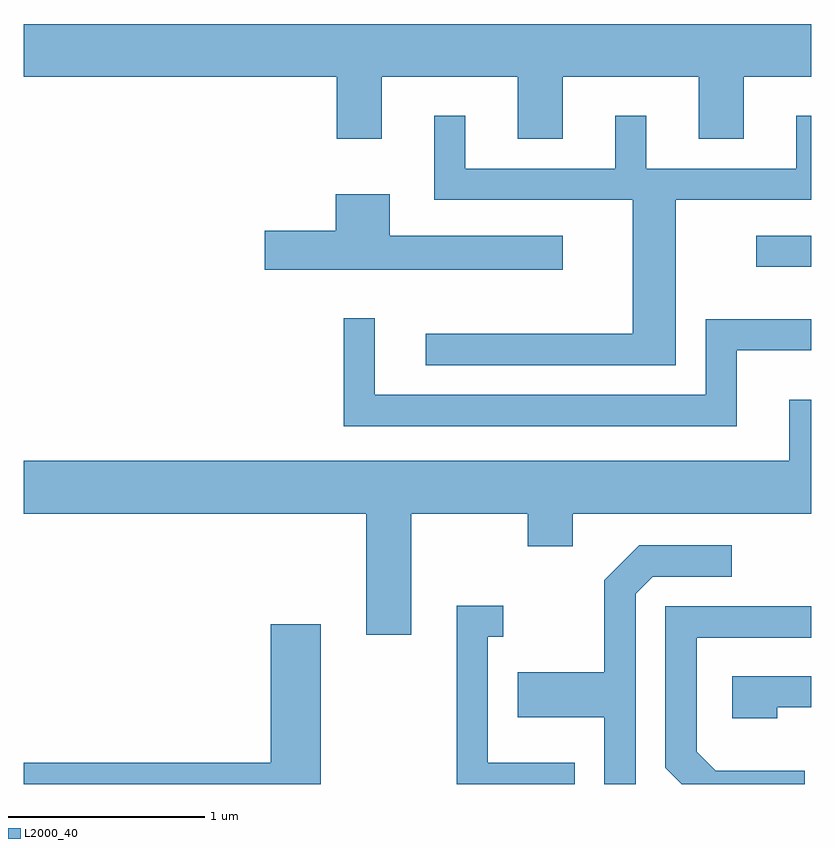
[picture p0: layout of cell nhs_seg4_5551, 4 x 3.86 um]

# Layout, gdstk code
import gdstk
lib = gdstk.Library(unit=1e-6, precision=1e-09)
def R(c, l, rs):  # rectangles x0, y0, x1, y1
    for r in rs: c.add(gdstk.rectangle(r[:2], r[2:], *l))
def P(c, l, *ps):  # polygons
    for p in ps: c.add(gdstk.Polygon(p, *l))
L2000_40 = (2000, 40)

nhs_seg4_5551 = lib.new_cell('nhs_seg4_5551')
R(nhs_seg4_5551, L2000_40, [(351.333,1342.611,351.611,1342.769)])
P(nhs_seg4_5551, L2000_40, [(349.429,1343.576),(350.121,1343.576),(350.121,1343.261),(350.349,1343.261),(350.349,1343.576),(351.041,1343.576),(351.041,1343.261),(351.269,1343.261),(351.269,1343.576),(351.611,1343.576),(351.611,1343.844),(347.611,1343.844),(347.611,1343.576),(349.201,1343.576),(349.201,1343.261),(349.429,1343.261)],
  [(350.924,1342.951),(351.611,1342.951),(351.611,1343.378),(351.536,1343.378),(351.536,1343.109),(350.774,1343.109),(350.774,1343.378),(350.616,1343.378),(350.616,1343.109),(349.854,1343.109),(349.854,1343.378),(349.696,1343.378),(349.696,1342.951),(350.706,1342.951),(350.706,1342.269),(349.653,1342.269),(349.653,1342.111),(350.924,1342.111)],
  [(350.349,1342.769),(349.469,1342.769),(349.469,1342.979),(349.196,1342.979),(349.196,1342.794),(348.836,1342.794),(348.836,1342.596),(350.349,1342.596)],
  [(351.234,1342.186),(351.611,1342.186),(351.611,1342.344),(351.076,1342.344),(351.076,1341.959),(349.394,1341.959),(349.394,1342.348),(349.236,1342.348),(349.236,1341.801),(351.234,1341.801)],
  [(349.579,1341.356),(350.171,1341.356),(350.171,1341.191),(350.399,1341.191),(350.399,1341.356),(351.611,1341.356),(351.611,1341.934),(351.501,1341.934),(351.501,1341.624),(347.611,1341.624),(347.611,1341.356),(349.351,1341.356),(349.351,1340.741),(349.579,1340.741)],
  [(350.719,1340.949),(350.807,1341.036),(351.208,1341.036),(351.208,1341.194),(350.739,1341.194),(350.561,1341.017),(350.561,1340.549),(350.121,1340.549),(350.121,1340.321),(350.561,1340.321),(350.561,1339.982),(350.719,1339.982)],
  [(350.409,1340.089),(349.969,1340.089),(349.969,1340.731),(350.048,1340.731),(350.048,1340.889),(349.811,1340.889),(349.811,1339.982),(350.409,1339.982)],
  [(351.579,1340.049),(351.127,1340.049),(351.029,1340.147),(351.029,1340.726),(351.611,1340.726),(351.611,1340.884),(350.871,1340.884),(350.871,1340.064),(350.953,1339.982),(351.579,1339.982)],
  [(349.119,1340.794),(348.866,1340.794),(348.866,1340.089),(347.611,1340.089),(347.611,1339.982),(349.119,1339.982)],
  [(351.439,1340.371),(351.611,1340.371),(351.611,1340.529),(351.211,1340.529),(351.211,1340.316),(351.439,1340.316)])

lib.write_gds('nhs_seg4_5551.gds')
